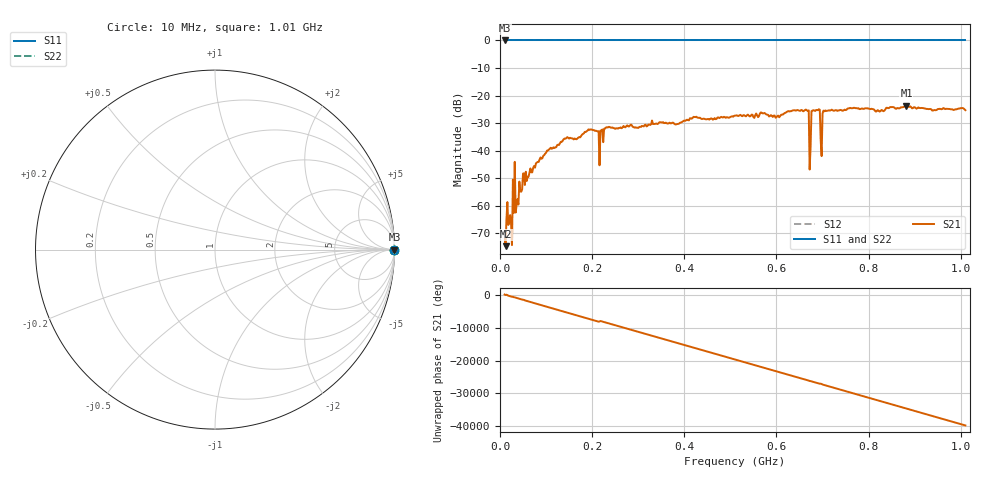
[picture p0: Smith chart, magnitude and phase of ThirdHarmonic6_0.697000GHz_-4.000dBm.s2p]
! 8/15/2025 11:16:31 PM
! C:\ANRITSUVNA\TEMP\TEMP.S2P
! CHANNEL.1
! TR.MEASUREMENT
! RAW.DATA
! RF.CORRECTION.OFF
! AVERAGING.OFF
! IF.BANDWIDTH: 5KHZ
! SWEEPTYPE:  FREQ.SWEEP(Linear)
! Reference Plane Port Info
! PORT:  PORT1  PORT2
! DISTANCE:  0  m  0  m
! TIME:  0  s  0  s
! PHASE.OFFSET:  0  deg.  0  deg.
! LOSS:  0  dB  0  dB
! REF.LOSS:  0  dB  0  dB
! REF.FREQ:  0  Hz  0  Hz
! Power Info
! POWER:  -20  dBm  -20  dBm
! EFF.POWER:  -20  dBm  -20  dBm
! SOURCE.ATTEN:  0  dB  0  dB
! TEST.ATTEN:  0  dB  0  dB
# GHZ S RI R 50.0
! FREQ.GHZ  S11RE  S11IM  S21RE  S21IM  S12RE  S12IM  S22RE  S22IM
!; PortSelection: Port_12
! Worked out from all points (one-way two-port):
!   501 points, 10 MHz to 1.01 GHz, reference 50 ohm
!   highest |S21| = -23.63 dB at 882 MHz (marker M1); lowest = -74.6 dB at 12 MHz (marker M2)
!   lowest |S11| = 0.0 dB at 10 MHz (marker M3)
!   |S11| at or under -10 dB: nowhere
!   |S22| runs from 0.0 to 0.0 dB; largest |S21 - S12| = 1.1
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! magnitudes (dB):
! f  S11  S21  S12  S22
! 10 MHz  0.0  -69.4  0.0  0.0
! 12 MHz  0.0  -74.6  0.0  0.0
! 18 MHz  0.0  -66.9  0.0  0.0
! 22 MHz  0.0  -63.3  0.0  0.0
! 32 MHz  0.0  -44.0  0.0  0.0
! 38 MHz  0.0  -57.5  0.0  0.0
! 54 MHz  0.0  -52.4  0.0  0.0
! 106 MHz  0.0  -39.6  0.0  0.0
! 178 MHz  0.0  -34.2  0.0  0.0
! 344 MHz  0.0  -30.0  0.0  0.0
! 510 MHz  0.0  -27.2  0.0  0.0
! 666 MHz  0.0  -25.3  0.0  0.0
! 672 MHz  0.0  -46.8  0.0  0.0
! 676 MHz  0.0  -25.6  0.0  0.0
! 678 MHz  0.0  -25.4  0.0  0.0
! 690 MHz  0.0  -25.3  0.0  0.0
! 694 MHz  0.0  -25.1  0.0  0.0
! 700 MHz  0.0  -26.5  0.0  0.0
! 706 MHz  0.0  -25.4  0.0  0.0
! 844 MHz  0.0  -24.5  0.0  0.0
! 882 MHz  0.0  -23.6  0.0  0.0
! 1.01 GHz  0.0  -25.3  0.0  0.0
